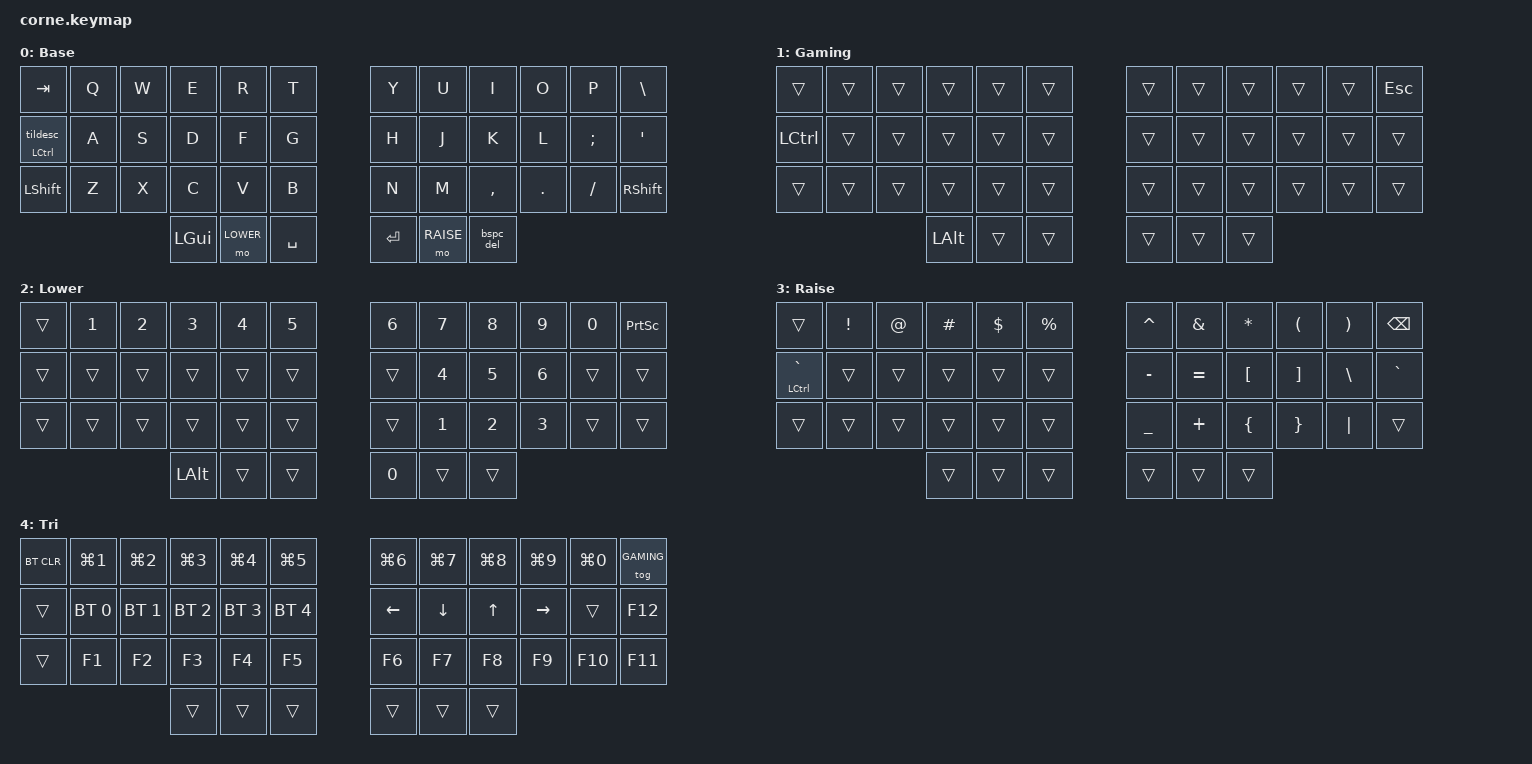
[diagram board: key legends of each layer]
/*
 * Copyright (c) 2020 The ZMK Contributors
 *
 * SPDX-License-Identifier: MIT
 */

#define DEFAULT 0
#define GAMING 1
#define LOWER 2
#define RAISE 3
#define TRI 4

#include <behaviors.dtsi>
#include <dt-bindings/zmk/keys.h>
#include <dt-bindings/zmk/bt.h>

/ {
    combos {
        compatible = "zmk,combos";
        combo_caps_word {
            timeout-ms=<50>;
            key-positions = <24 35>;
            layers = <0>;
            bindings = <&caps_word>;
        };
    };
    behaviors {
        tildesc: tilde_escape {
            compatible = "zmk,behavior-mod-morph";
            label = "TILDE_ESC";
            #binding-cells = <0>;
            bindings = <&kp ESC>, <&kp TILDE>;
            mods = <(MOD_LSFT|MOD_RSFT)>;
        };
        ht_tildesc: hold_tap_hold_preferred_tilde_esc {
            compatible = "zmk,behavior-hold-tap";
            label = "HT_TILDE_ESC";
            tapping-term-ms = <200>;
            #binding-cells = <2>;
            bindings = <&kp>, <&tildesc>;
        };
        bspc_del: backspace_delete {
            compatible = "zmk,behavior-mod-morph";
            label = "BSPC_DEL";
            #binding-cells = <0>;
            bindings = <&kp BACKSPACE>, <&kp DELETE>;
            mods = <(MOD_LSFT|MOD_RSFT)>;
        };
    };
    conditional_layers {
        compatible = "zmk,conditional-layers";
        tri_layer {
            if-layers = <LOWER RAISE>;
            then-layer = <TRI>;
        };
    };
    keymap {
        compatible = "zmk,keymap";
// ┌─────┬─────┬─────┬─────┬─────┬─────┐   ┌─────┬─────┬─────┬─────┬─────┬─────┐
// │ TAB │  Q  │  W  │  E  │  R  │  T  │   │  Y  │  U  │  I  │  O  │  P  │ \   │
// ├─────┼─────┼─────┼─────┼─────┼─────┤   ├─────┼─────┼─────┼─────┼─────┼─────┤
// │CT ES│  A  │  S  │  D  │  F  │  G  │   │  H  │  J  │  K  │  L  │  ;  │ '   │
// ├─────┼─────┼─────┼─────┼─────┼─────┤   ├─────┼─────┼─────┼─────┼─────┼─────┤
// │ SFT │  Z  │  X  │  C  │  V  │  B  │   │  N  │  M  │  ,  │  .  │  /  │ SFT │
// └─────┴─────┴─────┼─────┼─────┼─────┤   ├─────┼─────┼─────┼─────┴─────┴─────┘
//                   │ GUI │ LWR │ SPC │   │ RET │ RSE │ BSP │
//                   └─────┴─────┴─────┘   └─────┴─────┴─────┘
        default_layer {
            label = "Base";
            bindings = <
   &kp TAB             &kp Q &kp W &kp E    &kp R     &kp T           &kp Y   &kp U     &kp I     &kp O   &kp P       &kp BSLH
   &ht_tildesc LCTRL 0 &kp A &kp S &kp D    &kp F     &kp G           &kp H   &kp J     &kp K     &kp L   &kp SEMI &kp SQT
   &kp LSHFT           &kp Z &kp X &kp C    &kp V     &kp B           &kp N   &kp M     &kp COMMA &kp DOT &kp FSLH &kp RSHFT
                                   &kp LGUI &mo LOWER &kp SPACE       &kp RET &mo RAISE &bspc_del
            >;
        };

// ┌─────┬─────┬─────┬─────┬─────┬─────┐   ┌─────┬─────┬─────┬─────┬─────┬─────┐
// │     │     │     │     │     │     │   │     │     │     │     │     │ ESC │
// ├─────┼─────┼─────┼─────┼─────┼─────┤   ├─────┼─────┼─────┼─────┼─────┼─────┤
// │ CTR │     │     │     │     │     │   │     │     │     │     │     │     │
// ├─────┼─────┼─────┼─────┼─────┼─────┤   ├─────┼─────┼─────┼─────┼─────┼─────┤
// │     │     │     │     │     │     │   │     │     │     │     │     │     │
// └─────┴─────┴─────┼─────┼─────┼─────┤   ├─────┼─────┼─────┼─────┴─────┴─────┘
//                   │     │     │     │   │     │     │     │
//                   └─────┴─────┴─────┘   └─────┴─────┴─────┘
        gaming_layer {
            label = "Gaming";
            bindings = <
   &trans    &trans &trans &trans   &trans &trans      &trans &trans &trans &trans &trans &kp ESC
   &kp LCTRL &trans &trans &trans   &trans &trans      &trans &trans &trans &trans &trans &trans
   &trans    &trans &trans &trans   &trans &trans      &trans &trans &trans &trans &trans &trans
                           &kp LALT &trans &trans      &trans &trans &trans
            >;
        };

// ┌─────┬─────┬─────┬─────┬─────┬─────┐   ┌─────┬─────┬─────┬─────┬─────┬─────┐
// │     │  1  │  2  │  3  │  4  │  5  │   │  6  │  7  │  8  │  9  │  0  │ PRT │
// ├─────┼─────┼─────┼─────┼─────┼─────┤   ├─────┼─────┼─────┼─────┼─────┼─────┤
// │     │     │     │     │     │     │   │     │  4  │  5  │  6  │     │     │
// ├─────┼─────┼─────┼─────┼─────┼─────┤   ├─────┼─────┼─────┼─────┼─────┼─────┤
// │     │     │     │     │     │     │   │     │  1  │  2  │  3  │     │     │
// └─────┴─────┴─────┼─────┼─────┼─────┤   ├─────┼─────┼─────┼─────┴─────┴─────┘
//                   │ ALT │ ███ │     │   │  0  │     │     │
//                   └─────┴─────┴─────┘   └─────┴─────┴─────┘
        lower_layer {
            label = "Lower";
            bindings = <
   &trans  &kp N1 &kp N2 &kp N3   &kp N4 &kp N5      &kp N6 &kp N7 &kp N8 &kp N9 &kp N0 &kp PSCRN
   &trans  &trans &trans &trans   &trans &trans      &trans &kp N4 &kp N5 &kp N6 &trans &trans
   &trans  &trans &trans &trans   &trans &trans      &trans &kp N1 &kp N2 &kp N3 &trans &trans
                         &kp LALT &trans &trans      &kp N0 &trans &trans
            >;
        };

// ┌─────┬─────┬─────┬─────┬─────┬─────┐   ┌─────┬─────┬─────┬─────┬─────┬─────┐
// │     │  !  │  @  │ \#  │  $  │  %  │   │  ^  │  &  │  *  │  (  │  )  │ BSP │
// ├─────┼─────┼─────┼─────┼─────┼─────┤   ├─────┼─────┼─────┼─────┼─────┼─────┤
// │CTL `│     │     │     │     │     │   │  -  │  =  │  [  │  ]  │  \  │  `  │
// ├─────┼─────┼─────┼─────┼─────┼─────┤   ├─────┼─────┼─────┼─────┼─────┼─────┤
// │     │     │     │     │     │     │   │  _  │  +  │  {  │  }  │  |  │     │
// └─────┴─────┴─────┼─────┼─────┼─────┤   ├─────┼─────┼─────┼─────┴─────┴─────┘
//                   │     │     │     │   │     │ ███ │     │
//                   └─────┴─────┴─────┘   └─────┴─────┴─────┘
        raise_layer {
            label = "Raise";
            bindings = <
   &trans          &kp EXCL &kp AT &kp HASH &kp DLLR &kp PRCNT   &kp CARET &kp AMPS  &kp STAR &kp LPAR &kp RPAR &kp BSPC
   &mt LCTRL GRAVE &trans   &trans &trans   &trans   &trans      &kp MINUS &kp EQUAL &kp LBKT &kp RBKT &kp BSLH &kp GRAVE
   &trans          &trans   &trans &trans   &trans   &trans      &kp UNDER &kp PLUS  &kp LBRC &kp RBRC &kp PIPE &trans
                    	           &trans   &trans   &trans      &trans    &trans    &trans
            >;
        };

// ┌─────┬─────┬─────┬─────┬─────┬─────┐   ┌─────┬─────┬─────┬─────┬─────┬─────┐
// │ BCL │ LG1 │ LG2 │ LG3 │ LG4 │ LG5 │   │ LG6 │ LG7 │ LG8 │ LG9 │ LG0 │ GAM │
// ├─────┼─────┼─────┼─────┼─────┼─────┤   ├─────┼─────┼─────┼─────┼─────┼─────┤
// │     │ BT1 │ BT2 │ BT3 │ BT4 │ BT5 │   │ LEF │ DOW │ UP  │ RIT │     │ F12 │
// ├─────┼─────┼─────┼─────┼─────┼─────┤   ├─────┼─────┼─────┼─────┼─────┼─────┤
// │     │ F1  │ F2  │ F3  │ F4  │ F5  │   │ F6  │ F7  │ F8  │ F9  │ F10 │ F11 │
// └─────┴─────┴─────┼─────┼─────┼─────┤   ├─────┼─────┼─────┼─────┴─────┴─────┘
//                   │     │ ███ │     │   │     │ ███ │     │
//                   └─────┴─────┴─────┘   └─────┴─────┴─────┘
        tri_layer {
            label = "Tri";
            bindings = <
   &bt BT_CLR &kp LG(N1)     &kp LG(N2)     &kp LG(N3)     &kp LG(N4)     &kp LG(N5)       &kp LG(N6)     &kp LG(N7)     &kp LG(N8)     &kp LG(N9)     &kp LG(N0)     &tog GAMING
   &trans     &bt BT_SEL 0   &bt BT_SEL 1   &bt BT_SEL 2   &bt BT_SEL 3   &bt BT_SEL 4     &kp LEFT       &kp DOWN       &kp UP         &kp RIGHT      &trans         &kp F12
   &trans     &kp F1         &kp F2         &kp F3         &kp F4         &kp F5           &kp F6         &kp F7         &kp F8         &kp F9         &kp F10        &kp F11
                    	                    &trans         &trans         &trans           &trans         &trans         &trans
            >;
        };
    };
};
